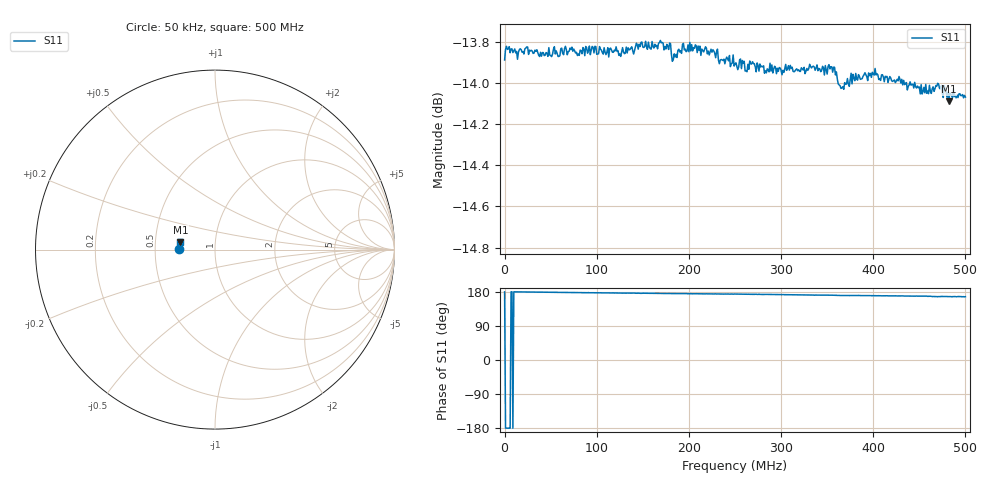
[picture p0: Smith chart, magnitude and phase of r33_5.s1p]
# MHz S MA R 50
!  freq  S11
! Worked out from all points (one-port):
!   501 points, 50 kHz to 500 MHz, reference 50 ohm
!   lowest |S11| = -14.1 dB at 482 MHz (marker M1), VSWR 1.49, Z = 33.7 + j3.03 ohm
!   |S11| at or under -10 dB: start of sweep to end of sweep
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0.05  0.2021 179.8
3.0497  0.2033 -179.9
38.0462  0.2025 179.1
63.0437  0.2029 178.4
79.0421  0.2026 177.9
97.0403  0.2029 177.4
125.0375  0.2028 176.8
170.033  0.2041 175.7
178.0322  0.2033 175.6
183.0317  0.2021 175.5
188.0312  0.2032 175.3
208.0292  0.2037 174.8
250.025  0.2017 174.0
258.0242  0.2021 173.5
263.0237  0.2008 173.6
268.0232  0.2016 173.3
284.0216  0.2007 173.1
313.0187  0.2008 172.2
353.0147  0.2011 171.0
366.0134  0.199 170.2
375.0125  0.1999 170.1
401.0099  0.2004 169.6
438.0062  0.1991 169.0
460.004  0.1983 168.1
469.0031  0.1992 167.1
476.0024  0.1979 167.5
482.0018  0.1975 167.4
500  0.198 167.1
